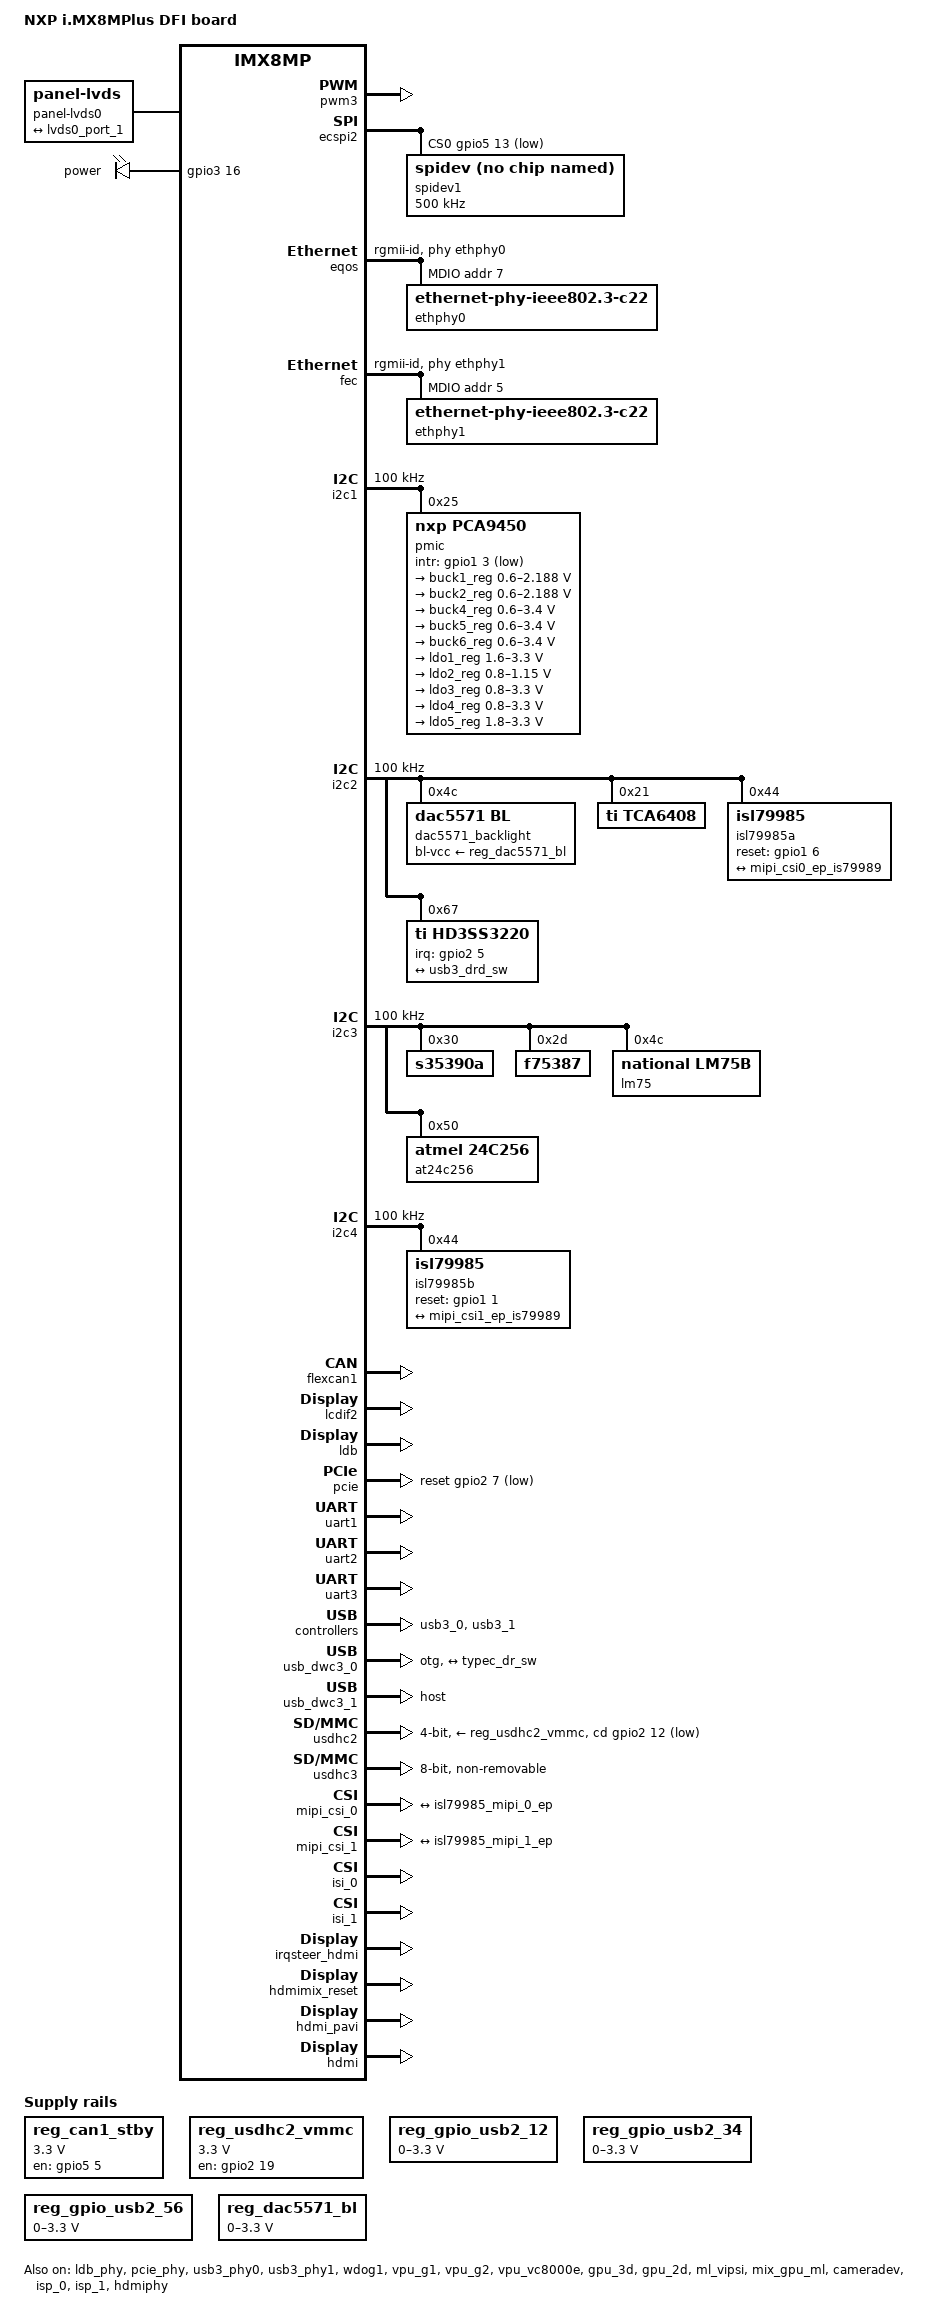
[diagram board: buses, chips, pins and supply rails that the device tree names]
// SPDX-License-Identifier: (GPL-2.0+ OR MIT)
/*
 * Copyright 2019 NXP
 */

/dts-v1/;

#include <dt-bindings/usb/pd.h>
#include "imx8mp.dtsi"

/ {
	model = "NXP i.MX8MPlus DFI board";
	compatible = "fsl,imx8mp-evk", "fsl,imx8mp";

	reserved-memory {
		#address-cells = <2>;
		#size-cells = <2>;
		ranges;

		rpmsg_reserved: rpmsg@0x55800000 {
			no-map;
			reg = <0 0x55800000 0 0x800000>;
		};
	};

	chosen {
		stdout-path = &uart2;
	};

	reg_can1_stby: regulator-can1-stby {
		status = "okay";
		compatible = "regulator-fixed";
		regulator-name = "can1-stby";
		pinctrl-names = "default";
		/* pinctrl-0 = <&pinctrl_flexcan1_reg>; */
		regulator-min-microvolt = <3300000>;
		regulator-max-microvolt = <3300000>;
		gpio = <&gpio5 5 GPIO_ACTIVE_HIGH>;
		enable-active-high;
	};

	reg_usdhc2_vmmc: regulator-usdhc2 {
		compatible = "regulator-fixed";
		regulator-name = "VSD_3V3";
		regulator-min-microvolt = <3300000>;
		regulator-max-microvolt = <3300000>;
		gpio = <&gpio2 19 GPIO_ACTIVE_HIGH>;
		enable-active-high;
		startup-delay-us = <100>;
		off-on-delay-us = <12000>;
	};

    reg_gpio_usb2_12: regulator-usb2-12 {
            compatible = "regulator-gpio";
            pinctrl-names = "default";
            pinctrl-0 = <&pinctrl_usb2_12_en>;
            regulator-min-microvolt = <0000001>;
            regulator-max-microvolt = <3300000>;
            regulator-name = "gpio_usb2_12";
            regulator-type = "voltage";
            gpios = <&gpio1 7 GPIO_ACTIVE_HIGH>;
            gpios-states = <1>;
            states = <3300000 0x1 0000000 0x0>;
    };

    reg_gpio_usb2_34: regulator-usb2-34 {
            compatible = "regulator-gpio";
            pinctrl-names = "default";
            pinctrl-0 = <&pinctrl_usb2_34_en>;
            regulator-min-microvolt = <0000001>;
            regulator-max-microvolt = <3300000>;
            regulator-name = "gpio_usb2_34";
            regulator-type = "voltage";
            gpios = <&gpio1 8 GPIO_ACTIVE_HIGH>;
            gpios-states = <1>;
            states = <3300000 0x1 0000000 0x0>;
    };

    reg_gpio_usb2_56: regulator-usb2-56 {
            compatible = "regulator-gpio";
            pinctrl-names = "default";
            pinctrl-0 = <&pinctrl_usb2_56_en>;
            regulator-min-microvolt = <0000001>;
            regulator-max-microvolt = <3300000>;
            regulator-name = "gpio_usb2_56";
            regulator-type = "voltage";
            gpios = <&gpio1 9 GPIO_ACTIVE_HIGH>;
            gpios-states = <1>;
            states = <3300000 0x1 0000000 0x0>;
    };

    reg_dac5571_bl: regulator-dac5571_bl {
            compatible = "regulator-gpio";
            pinctrl-names = "default";
            pinctrl-0 = <&pinctrl_dac5571_bl_en>;
            regulator-min-microvolt = <0000001>;
            regulator-max-microvolt = <3300000>;
            regulator-name = "dac5571_bl";
            regulator-type = "voltage";
            gpios = <&gpio1 10 GPIO_ACTIVE_HIGH>;
            gpios-states = <1>;
            states = <3300000 0x1 0000001 0x0>;
            enable-at-boot;
            status = "okay";
    };

	panel-lvds0 {
		compatible = "panel-lvds";

		width-mm = <261>;
		height-mm = <163>;
		data-mapping = "jeida-24";

		panel-timing {
			/* 800x600 @60Hz */
			clock-frequency = <40000000>;
			hactive = <800>;
			vactive = <600>;
			hsync-len = <128>;
			hfront-porch = <40>;
			hback-porch = <88>;
			vsync-len = <4>;
			vfront-porch = <1>;
			vback-porch = <23>;
		};

		port {
			panel_lvds0_in: endpoint {
				remote-endpoint = <&lvds0_port_1>;
			};
		};
	};

	leds {
		compatible = "gpio-leds";
		pinctrl-names = "default";
		pinctrl-0 = <&pinctrl_gpio_led>;

		led0: power {
			label = "power";
			gpios = <&gpio3 16 GPIO_ACTIVE_HIGH>;
			default-state = "on";
			linux,default-trigger = "gpio";
		};
	};
};

&clk {
	init-on-array = <IMX8MP_CLK_HSIO_ROOT>;
};

&A53_0 {
	cpu-supply = <&buck2_reg>;
};

&pwm3 {
	pinctrl-names = "default";
	pinctrl-0 = <&pinctrl_pwm3>;
	status = "okay";
};

&ecspi2 {
	#address-cells = <1>;
	#size-cells = <0>;
	fsl,spi-num-chipselects = <1>;
	pinctrl-names = "default";
	pinctrl-0 = <&pinctrl_ecspi2 &pinctrl_ecspi2_cs>;
	cs-gpios = <&gpio5 13 GPIO_ACTIVE_LOW>;
	status = "okay";

	spidev1: spi@0 {
		status = "okay";
		reg = <0>;
		compatible = "rohm,dh2228fv";
		spi-max-frequency = <500000>;
	};
};

&eqos {
	pinctrl-names = "default";
	pinctrl-0 = <&pinctrl_eqos>;
	phy-mode = "rgmii-id";
	phy-handle = <&ethphy0>;
	stmmc-disable-dma-swrst;
	status = "okay";

	mdio {
		compatible = "snps,dwmac-mdio";
		#address-cells = <1>;
		#size-cells = <0>;

		ethphy0: ethernet-phy@1 {
			compatible = "ethernet-phy-ieee802.3-c22";
			reg = <7>;
			eee-broken-1000t;
		};
	};
};

&fec {
	pinctrl-names = "default";
	pinctrl-0 = <&pinctrl_fec>;
	phy-mode = "rgmii-id";
	phy-handle = <&ethphy1>;
	fsl,magic-packet;
	status = "okay";

	mdio {
		#address-cells = <1>;
		#size-cells = <0>;

		ethphy1: ethernet-phy@1 {
			compatible = "ethernet-phy-ieee802.3-c22";
			reg = <5>;
			eee-broken-1000t;
		};
	};
};

&i2c1 {
	clock-frequency = <100000>;
	pinctrl-names = "default";
	pinctrl-0 = <&pinctrl_i2c1>;
	status = "okay";

	pmic: pca9450@25 {
		reg = <0x25>;
		compatible = "nxp,pca9450";
		/* PMIC PCA9450 PMIC_nINT GPIO1_IO3 */
		pinctrl-0 = <&pinctrl_pmic>;
		gpio_intr = <&gpio1 3 GPIO_ACTIVE_LOW>;

		regulators {
			#address-cells = <1>;
			#size-cells = <0>;

			pca9450,pmic-buck2-uses-i2c-dvs;
			/* Run/Standby voltage */
			pca9450,pmic-buck2-dvs-voltage = <950000>, <850000>;

			buck1_reg: regulator@0 {
				reg = <0>;
				regulator-compatible = "buck1";
				regulator-min-microvolt = <600000>;
				regulator-max-microvolt = <2187500>;
				regulator-boot-on;
				regulator-always-on;
				regulator-ramp-delay = <3125>;
			};

			buck2_reg: regulator@1 {
				reg = <1>;
				regulator-compatible = "buck2";
				regulator-min-microvolt = <600000>;
				regulator-max-microvolt = <2187500>;
				regulator-boot-on;
				regulator-always-on;
				regulator-ramp-delay = <3125>;
			};

			buck4_reg: regulator@3 {
				reg = <3>;
				regulator-compatible = "buck4";
				regulator-min-microvolt = <600000>;
				regulator-max-microvolt = <3400000>;
				regulator-boot-on;
				regulator-always-on;
			};

			buck5_reg: regulator@4 {
				reg = <4>;
				regulator-compatible = "buck5";
				regulator-min-microvolt = <600000>;
				regulator-max-microvolt = <3400000>;
				regulator-boot-on;
				regulator-always-on;
			};

			buck6_reg: regulator@5 {
				reg = <5>;
				regulator-compatible = "buck6";
				regulator-min-microvolt = <600000>;
				regulator-max-microvolt = <3400000>;
				regulator-boot-on;
				regulator-always-on;
			};

			ldo1_reg: regulator@6 {
				reg = <6>;
				regulator-compatible = "ldo1";
				regulator-min-microvolt = <1600000>;
				regulator-max-microvolt = <3300000>;
				regulator-boot-on;
				regulator-always-on;
			};

			ldo2_reg: regulator@7 {
				reg = <7>;
				regulator-compatible = "ldo2";
				regulator-min-microvolt = <800000>;
				regulator-max-microvolt = <1150000>;
				regulator-boot-on;
				regulator-always-on;
			};

			ldo3_reg: regulator@8 {
				reg = <8>;
				regulator-compatible = "ldo3";
				regulator-min-microvolt = <800000>;
				regulator-max-microvolt = <3300000>;
				regulator-boot-on;
				regulator-always-on;
			};

			ldo4_reg: regulator@9 {
				reg = <9>;
				regulator-compatible = "ldo4";
				regulator-min-microvolt = <800000>;
				regulator-max-microvolt = <3300000>;
				regulator-boot-on;
				regulator-always-on;
			};

			ldo5_reg: regulator@10 {
				reg = <10>;
				regulator-compatible = "ldo5";
				regulator-min-microvolt = <1800000>;
				regulator-max-microvolt = <3300000>;
			};
		};
	};
};

&i2c2 {
	clock-frequency = <100000>;
	pinctrl-names = "default";
	pinctrl-0 = <&pinctrl_i2c2>;
	status = "okay";

	/* DAC5571 backlight */
	dac5571_backlight: dac5571_backlight@4c {
		compatible = "dac5571,bl";
		reg = <0x4c>;
		pinctrl-names = "default";
		bl-vcc-supply = <&reg_dac5571_bl>;
		default-brightness-level = <80>;
		status = "okay";
	};

    tca6408: gpio@21 {
		compatible = "ti,tca6408";
		reg = <0x21>;
		gpio-controller;
		#gpio-cells = <2>;
    };

	/* ISL79985 A */
	isl79985a: isl79985_mipi@44 {
		compatible = "isl79985";
		reg = <0x44>;

		pinctrl-names = "default";
		pinctrl-0 = <&pinctrl_isl79985a_rst>;
		csi_id = <0>;
		reset-gpios = <&gpio1 6 GPIO_ACTIVE_HIGH>;
		status = "okay";

		port@0 {
			isl79985_mipi_0_ep: endpoint {
				remote-endpoint = <&mipi_csi0_ep_is79989>;
				data-lanes = <1>;
				clock-lanes = <1>;
			};
		};

	};

	hd3ss3220: tcpc@67 {
		compatible = "ti,hd3ss3220";
		reg = <0x67>;
		pinctrl-names = "default";
		pinctrl-0 = <&pinctrl_int_3320>;
		interrupt-parent = <&gpio2>;
		interrupts = <5 8>;

		usb_con: connector {
			compatible = "usb-c-connector";
			label = "USB-C";
			power-role = "dual";
			data-role = "dual";
			try-power-role = "sink";

			port {
				typec_dr_sw: endpoint {
					remote-endpoint = <&usb3_drd_sw>;
				};
			};
		};
	};
};

&i2c3 {
	clock-frequency = <100000>;
	pinctrl-names = "default";
	pinctrl-0 = <&pinctrl_i2c3>;
	status = "okay";

    s35390a: s35390a@30 {
		compatible = "s35390a";
		reg = <0x30>;
    };

    f75387: f75387@2d {
		force-pwm-mode-3;
		compatible = "f75387";
		reg = <0x2d>;
    };

	lm75: board-temp-sensor@4c {
		compatible = "national,lm75b";
		reg = <0x4c>;
	};

	at24c256: eeprom@50 {
		compatible = "atmel,24c256";
		reg = <0x50>;
	};
};

&i2c4 {
	clock-frequency = <100000>;
	pinctrl-names = "default";
	pinctrl-0 = <&pinctrl_i2c4>;
	status = "okay";


	/* ISL79985 B */
	isl79985b: isl79985_mipi@44 {
		compatible = "isl79985";
		reg = <0x44>;

		pinctrl-names = "default";
		pinctrl-0 = <&pinctrl_isl79985b_rst>;
		csi_id = <0>;
		reset-gpios = <&gpio1 1 GPIO_ACTIVE_HIGH>;
		status = "okay";

		port@0 {
			isl79985_mipi_1_ep: endpoint {
				remote-endpoint = <&mipi_csi1_ep_is79989>;
				data-lanes = <1>;
				clock-lanes = <1>;
			};
		};

	};
};

&flexcan1 {
	pinctrl-names = "default";
	pinctrl-0 = <&pinctrl_flexcan1>;
	/* xceiver-supply = <&reg_can1_stby>; */
	status = "okay";
};

&lcdif1 {
	status = "disabled";
};

&lcdif2 {
	status = "okay";
};

&lcdif3 {
	status = "disabled";
};

&ldb {
	status = "okay";

	lvds-channel@0 {
		fsl,data-mapping = "jeida";
		fsl,data-width = <24>;
		status = "okay";

		port@1 {
			reg = <1>;
			lvds0_port_1: endpoint {
					remote-endpoint = <&panel_lvds0_in>;
			};
		};
	};
};

&ldb_phy {
	status = "okay";
};

&pcie{
	pinctrl-names = "default";
	pinctrl-0 = <&pinctrl_pcie>;
	disable-gpio = <&gpio2 6 GPIO_ACTIVE_LOW>;
	reset-gpio = <&gpio2 7 GPIO_ACTIVE_LOW>;
	clkreq-gpio = <&gpio5 20 GPIO_ACTIVE_LOW>;
	ext_osc = <1>;
	clocks = <&clk IMX8MP_CLK_HSIO_AXI_DIV>,
		 <&clk IMX8MP_CLK_PCIE_AUX>,
		 <&clk IMX8MP_CLK_PCIE_PHY>,
		 <&clk IMX8MP_CLK_PCIE_ROOT>;
	clock-names = "pcie", "pcie_aux", "pcie_phy", "pcie_bus";
	assigned-clocks = <&clk IMX8MP_CLK_HSIO_AXI_SRC>,
			  <&clk IMX8MP_CLK_PCIE_AUX>;
	assigned-clock-parents = <&clk IMX8MP_SYS_PLL2_500M>,
				 <&clk IMX8MP_SYS_PLL2_50M>;
	reserved-region = <&rpmsg_reserved>;
	status = "okay";
};

&pcie_phy{
	status = "okay";
};



&uart1 {
	pinctrl-names = "default";
	pinctrl-0 = <&pinctrl_uart1>;
	assigned-clocks = <&clk IMX8MP_CLK_UART1>;
	assigned-clock-parents = <&clk IMX8MP_SYS_PLL1_80M>;
	status = "okay";
};

&uart2 {
	/* console */
	pinctrl-names = "default";
	pinctrl-0 = <&pinctrl_uart2>;
	status = "okay";
};

&uart3 {
	pinctrl-names = "default";
	pinctrl-0 = <&pinctrl_uart3>;
	assigned-clocks = <&clk IMX8MP_CLK_UART3>;
	assigned-clock-parents = <&clk IMX8MP_SYS_PLL1_80M>;
	fsl,uart-has-rtscts;
	status = "okay";
};

&usb3_phy0 {
	fsl,phy-tx-vref-tune = <6>;
	fsl,phy-tx-rise-tune = <0>;
	fsl,phy-tx-preemp-amp-tune = <3>;
	fsl,phy-comp-dis-tune = <7>;
	fsl,pcs-tx-deemph-3p5db = <0x21>;
	fsl,phy-pcs-tx-swing-full = <0x7f>;
	status = "okay";
};

&usb3_0 {
	status = "okay";
};

&usb_dwc3_0 {
	dr_mode = "otg";
	hnp-disable;
	srp-disable;
	adp-disable;
	usb-role-switch;
	status = "okay";

	port {
		usb3_drd_sw: endpoint {
			remote-endpoint = <&typec_dr_sw>;
		};
	};

};

&usb3_phy1 {
	fsl,phy-tx-preemp-amp-tune = <2>;
	status = "okay";
};

&usb3_1 {
	status = "okay";
};

&usb_dwc3_1 {
	dr_mode = "host";
	status = "okay";
};

&usdhc2 {
	pinctrl-names = "default", "state_100mhz", "state_200mhz";
	pinctrl-0 = <&pinctrl_usdhc2>, <&pinctrl_usdhc2_gpio>;
	pinctrl-1 = <&pinctrl_usdhc2_100mhz>, <&pinctrl_usdhc2_gpio>;
	pinctrl-2 = <&pinctrl_usdhc2_200mhz>, <&pinctrl_usdhc2_gpio>;
	cd-gpios = <&gpio2 12 GPIO_ACTIVE_LOW>;
	vmmc-supply = <&reg_usdhc2_vmmc>;
	bus-width = <4>;
	status = "okay";
};

/* eMMC */
&usdhc3 {
	pinctrl-names = "default", "state_100mhz", "state_200mhz";
	pinctrl-0 = <&pinctrl_usdhc3>;
	pinctrl-1 = <&pinctrl_usdhc3_100mhz>;
	pinctrl-2 = <&pinctrl_usdhc3_200mhz>;
	bus-width = <8>;
	non-removable;
	status = "okay";
};

&wdog1 {
	pinctrl-names = "default";
	pinctrl-0 = <&pinctrl_wdog>;
	fsl,ext-reset-output;
	status = "okay";
};

&iomuxc {
	pinctrl-names = "default";
	pinctrl-0 = <&pinctrl_hog>;

	pinctrl_hog: hoggrp {
		fsl,pins = <
			MX8MP_IOMUXC_GPIO1_IO00__GPIO1_IO00		0x59	/* USB_OTG_PWR_EN 	*/
			MX8MP_IOMUXC_GPIO1_IO05__GPIO1_IO05		0x19 	/* CAM1 RST 		*/
			MX8MP_IOMUXC_GPIO1_IO11__GPIO1_IO11		0x116 	/* PCIE_nPRSNT_3V3 	*/
			MX8MP_IOMUXC_GPIO1_IO12__GPIO1_IO12		0x19 	/* TCA_INT-		*/
			MX8MP_IOMUXC_GPIO1_IO13__GPIO1_IO13		0x19 	/* USB_OC12- 		*/
			MX8MP_IOMUXC_GPIO1_IO14__GPIO1_IO14		0x19 	/* USB_OC34- 		*/
			MX8MP_IOMUXC_GPIO1_IO15__GPIO1_IO15		0x19 	/* USB_OC5-		*/
			MX8MP_IOMUXC_SD1_DATA0__GPIO2_IO02		0x1d0 	/* HUB_nRST 		*/
			MX8MP_IOMUXC_SD1_DATA2__GPIO2_IO04		0x1d0 	/* LCD_DPS			*/
			MX8MP_IOMUXC_SD1_STROBE__GPIO2_IO11		0x19 /* CSI_PWDN */



		>;
	};

	pinctrl_dac5571_en: dac5571_en {
		fsl,pins = <
			MX8MP_IOMUXC_GPIO1_IO10__GPIO1_IO10 0x16 /* LVDS_BL_EN */
		>;
	};

	pinctrl_usb2_12_en: usb2_12_en {
		fsl,pins = <
			MX8MP_IOMUXC_GPIO1_IO07__GPIO1_IO07	0x16 /* USB2_12 Enable */
		>;
	};

	pinctrl_usb2_34_en: usb2_34_en {
		fsl,pins = <
			MX8MP_IOMUXC_GPIO1_IO08__GPIO1_IO08	0x16 /* USB2_32 Enable */
		>;
	};

	pinctrl_usb2_56_en: usb2_56_en {
		fsl,pins = <
			MX8MP_IOMUXC_GPIO1_IO09__GPIO1_IO09	0x16 /* USB2_32 Enable */
		>;
	};

	pinctrl_dac5571_bl_en: dac5571_bl_en {
		fsl,pins = <
			MX8MP_IOMUXC_GPIO1_IO10__GPIO1_IO10	0x16 /* DAC5571_BL Enable */
		>;
	};

	pinctrl_lvds_pwr_en: lvds_pwr_en {
		fsl,pins = <
			MX8MP_IOMUXC_SAI5_RXD2__GPIO3_IO23	0x16 /* LVDS Power Enable */
		>;
	};

	pinctrl_isl79985a_rst: isl79985a_rst {
		fsl,pins = <
			MX8MP_IOMUXC_GPIO1_IO06__GPIO1_IO06	0x19 /* ISL79985 1st RST */
		>;
	};

	pinctrl_isl79985b_rst: isl79985b_rst {
		fsl,pins = <
			MX8MP_IOMUXC_GPIO1_IO01__GPIO1_IO01	0x19 /* ISL79985 2nd RST */
		>;
	};

	pinctrl_int_3320: int_3320 {
		fsl,pins = <
			MX8MP_IOMUXC_SD1_DATA3__GPIO2_IO05	0x19 /* INT_3320 */
		>;
	};

	pinctrl_pwm3: pwm3grp {
		fsl,pins = <
			MX8MP_IOMUXC_SAI5_RXC__PWM3_OUT	0x116
		>;
	};

	pinctrl_ecspi2: ecspi2grp {
		fsl,pins = <
			MX8MP_IOMUXC_ECSPI2_SCLK__ECSPI2_SCLK		0x82
			MX8MP_IOMUXC_ECSPI2_MOSI__ECSPI2_MOSI		0x82
			MX8MP_IOMUXC_ECSPI2_MISO__ECSPI2_MISO		0x82
		>;
	};

	pinctrl_ecspi2_cs: ecspi2cs {
		fsl,pins = <
			MX8MP_IOMUXC_ECSPI2_SS0__GPIO5_IO13		0x40000
		>;
	};

	pinctrl_eqos: eqosgrp {
		fsl,pins = <
			MX8MP_IOMUXC_ENET_MDC__ENET_QOS_MDC	0x3
			MX8MP_IOMUXC_ENET_MDIO__ENET_QOS_MDIO	0x3
			MX8MP_IOMUXC_ENET_RD0__ENET_QOS_RGMII_RD0	0x91
			MX8MP_IOMUXC_ENET_RD1__ENET_QOS_RGMII_RD1	0x91
			MX8MP_IOMUXC_ENET_RD2__ENET_QOS_RGMII_RD2	0x91
			MX8MP_IOMUXC_ENET_RD3__ENET_QOS_RGMII_RD3	0x91
			MX8MP_IOMUXC_ENET_RXC__CCM_ENET_QOS_CLOCK_GENERATE_RX_CLK	0x91
			MX8MP_IOMUXC_ENET_RX_CTL__ENET_QOS_RGMII_RX_CTL	0x91
			MX8MP_IOMUXC_ENET_TD0__ENET_QOS_RGMII_TD0		0x1f
			MX8MP_IOMUXC_ENET_TD1__ENET_QOS_RGMII_TD1		0x1f
			MX8MP_IOMUXC_ENET_TD2__ENET_QOS_RGMII_TD2		0x1f
			MX8MP_IOMUXC_ENET_TD3__ENET_QOS_RGMII_TD3		0x1f
			MX8MP_IOMUXC_ENET_TX_CTL__ENET_QOS_RGMII_TX_CTL	0x1f
			MX8MP_IOMUXC_ENET_TXC__CCM_ENET_QOS_CLOCK_GENERATE_TX_CLK	0x1f
			MX8MP_IOMUXC_SAI2_RXC__GPIO4_IO22		0x19
		>;
	};

	pinctrl_fec: fecgrp {
		fsl,pins = <
			MX8MP_IOMUXC_SAI1_RXD2__ENET1_MDC		0x3
			MX8MP_IOMUXC_SAI1_RXD3__ENET1_MDIO		0x3
			MX8MP_IOMUXC_SAI1_RXD4__ENET1_RGMII_RD0		0x91
			MX8MP_IOMUXC_SAI1_RXD5__ENET1_RGMII_RD1		0x91
			MX8MP_IOMUXC_SAI1_RXD6__ENET1_RGMII_RD2		0x91
			MX8MP_IOMUXC_SAI1_RXD7__ENET1_RGMII_RD3		0x91
			MX8MP_IOMUXC_SAI1_TXC__ENET1_RGMII_RXC		0x91
			MX8MP_IOMUXC_SAI1_TXFS__ENET1_RGMII_RX_CTL	0x91
			MX8MP_IOMUXC_SAI1_TXD0__ENET1_RGMII_TD0		0x1f
			MX8MP_IOMUXC_SAI1_TXD1__ENET1_RGMII_TD1		0x1f
			MX8MP_IOMUXC_SAI1_TXD2__ENET1_RGMII_TD2		0x1f
			MX8MP_IOMUXC_SAI1_TXD3__ENET1_RGMII_TD3		0x1f
			MX8MP_IOMUXC_SAI1_TXD4__ENET1_RGMII_TX_CTL	0x1f
			MX8MP_IOMUXC_SAI1_TXD5__ENET1_RGMII_TXC		0x1f
			MX8MP_IOMUXC_SAI1_RXD0__GPIO4_IO02		0x19
		>;
	};

	pinctrl_flexcan1: flexcan1grp {
		fsl,pins = <
			MX8MP_IOMUXC_SPDIF_RX__CAN1_RX          0x154
			MX8MP_IOMUXC_SPDIF_TX__CAN1_TX          0x154
		>;
	};

	pinctrl_gpio_led: gpioledgrp {
		fsl,pins = <
			MX8MP_IOMUXC_NAND_READY_B__GPIO3_IO16	0x19
		>;
	};

	pinctrl_i2c1: i2c1grp {
		fsl,pins = <
			MX8MP_IOMUXC_I2C1_SCL__I2C1_SCL		0x400001c3
			MX8MP_IOMUXC_I2C1_SDA__I2C1_SDA		0x400001c3
		>;
	};

	pinctrl_i2c2: i2c2grp {
		fsl,pins = <
			MX8MP_IOMUXC_I2C2_SCL__I2C2_SCL			0x400001c3
			MX8MP_IOMUXC_I2C2_SDA__I2C2_SDA			0x400001c3
		>;
	};

	pinctrl_i2c3: i2c3grp {
		fsl,pins = <
			MX8MP_IOMUXC_I2C3_SCL__I2C3_SCL			0x400001c3
			MX8MP_IOMUXC_I2C3_SDA__I2C3_SDA			0x400001c3
		>;
	};

	pinctrl_i2c4: i2c4grp {
		fsl,pins = <
			MX8MP_IOMUXC_I2C4_SCL__I2C4_SCL			0x400001c3
			MX8MP_IOMUXC_I2C4_SDA__I2C4_SDA			0x400001c3
		>;
	};

	pinctrl_pcie: pciegrp {
		fsl,pins = <
			MX8MP_IOMUXC_I2C4_SCL__HSIOMIX_PCIE_CLKREQ_B	0x61 /* open drain, pull up */
			MX8MP_IOMUXC_SD1_DATA4__GPIO2_IO06		0x41
			MX8MP_IOMUXC_SD1_DATA5__GPIO2_IO07		0x41
		>;
	};

	pinctrl_pmic: pmicirq {
		fsl,pins = <
			MX8MP_IOMUXC_GPIO1_IO03__GPIO1_IO03	0x41
		>;
	};

	pinctrl_uart1: uart1grp {
		fsl,pins = <
			MX8MP_IOMUXC_UART1_RXD__UART1_DCE_RX	0x140
			MX8MP_IOMUXC_UART1_TXD__UART1_DCE_TX	0x140
			MX8MP_IOMUXC_UART3_RXD__UART1_DCE_CTS	0x140
			MX8MP_IOMUXC_UART3_TXD__UART1_DCE_RTS	0x140
		>;
	};

	pinctrl_uart2: uart2grp {
		fsl,pins = <
			MX8MP_IOMUXC_UART2_RXD__UART2_DCE_RX	0x49
			MX8MP_IOMUXC_UART2_TXD__UART2_DCE_TX	0x49
		>;
	};

	pinctrl_uart3: uart3grp {
		fsl,pins = <
			MX8MP_IOMUXC_ECSPI1_SCLK__UART3_DCE_RX		0x140
			MX8MP_IOMUXC_ECSPI1_MOSI__UART3_DCE_TX		0x140
			MX8MP_IOMUXC_ECSPI1_SS0__UART3_DCE_RTS		0x140
			MX8MP_IOMUXC_ECSPI1_MISO__UART3_DCE_CTS		0x140
		>;
	};

	pinctrl_usdhc2_gpio: usdhc2grp-gpio {
		fsl,pins = <
			MX8MP_IOMUXC_SD2_CD_B__GPIO2_IO12 	0x1c4
			MX8MP_IOMUXC_SD2_RESET_B__GPIO2_IO19	0x41
		>;
	};

	pinctrl_usdhc2: usdhc2grp {
		fsl,pins = <
			MX8MP_IOMUXC_SD2_CLK__USDHC2_CLK	0x190
			MX8MP_IOMUXC_SD2_CMD__USDHC2_CMD	0x1d0
			MX8MP_IOMUXC_SD2_DATA0__USDHC2_DATA0	0x1d0
			MX8MP_IOMUXC_SD2_DATA1__USDHC2_DATA1	0x1d0
			MX8MP_IOMUXC_SD2_DATA2__USDHC2_DATA2	0x1d0
			MX8MP_IOMUXC_SD2_DATA3__USDHC2_DATA3	0x1d0
			MX8MP_IOMUXC_GPIO1_IO04__USDHC2_VSELECT	0xc1
		>;
	};

	pinctrl_usdhc2_100mhz: usdhc2grp-100mhz {
		fsl,pins = <
			MX8MP_IOMUXC_SD2_CLK__USDHC2_CLK	0x194
			MX8MP_IOMUXC_SD2_CMD__USDHC2_CMD	0x1d4
			MX8MP_IOMUXC_SD2_DATA0__USDHC2_DATA0	0x1d4
			MX8MP_IOMUXC_SD2_DATA1__USDHC2_DATA1	0x1d4
			MX8MP_IOMUXC_SD2_DATA2__USDHC2_DATA2	0x1d4
			MX8MP_IOMUXC_SD2_DATA3__USDHC2_DATA3	0x1d4
			MX8MP_IOMUXC_GPIO1_IO04__USDHC2_VSELECT 0xc1
		>;
	};

	pinctrl_usdhc2_200mhz: usdhc2grp-200mhz {
		fsl,pins = <
			MX8MP_IOMUXC_SD2_CLK__USDHC2_CLK	0x196
			MX8MP_IOMUXC_SD2_CMD__USDHC2_CMD	0x1d6
			MX8MP_IOMUXC_SD2_DATA0__USDHC2_DATA0	0x1d6
			MX8MP_IOMUXC_SD2_DATA1__USDHC2_DATA1	0x1d6
			MX8MP_IOMUXC_SD2_DATA2__USDHC2_DATA2	0x1d6
			MX8MP_IOMUXC_SD2_DATA3__USDHC2_DATA3	0x1d6
			MX8MP_IOMUXC_GPIO1_IO04__USDHC2_VSELECT 0xc1
		>;
	};

	pinctrl_usdhc3: usdhc3grp {
		fsl,pins = <
			MX8MP_IOMUXC_NAND_WE_B__USDHC3_CLK	0x190
			MX8MP_IOMUXC_NAND_WP_B__USDHC3_CMD	0x1d0
			MX8MP_IOMUXC_NAND_DATA04__USDHC3_DATA0	0x1d0
			MX8MP_IOMUXC_NAND_DATA05__USDHC3_DATA1	0x1d0
			MX8MP_IOMUXC_NAND_DATA06__USDHC3_DATA2	0x1d0
			MX8MP_IOMUXC_NAND_DATA07__USDHC3_DATA3	0x1d0
			MX8MP_IOMUXC_NAND_RE_B__USDHC3_DATA4	0x1d0
			MX8MP_IOMUXC_NAND_CE2_B__USDHC3_DATA5	0x1d0
			MX8MP_IOMUXC_NAND_CE3_B__USDHC3_DATA6	0x1d0
			MX8MP_IOMUXC_NAND_CLE__USDHC3_DATA7	0x1d0
			MX8MP_IOMUXC_NAND_CE1_B__USDHC3_STROBE	0x190
		>;
	};

	pinctrl_usdhc3_100mhz: usdhc3grp-100mhz {
		fsl,pins = <
			MX8MP_IOMUXC_NAND_WE_B__USDHC3_CLK	0x194
			MX8MP_IOMUXC_NAND_WP_B__USDHC3_CMD	0x1d4
			MX8MP_IOMUXC_NAND_DATA04__USDHC3_DATA0	0x1d4
			MX8MP_IOMUXC_NAND_DATA05__USDHC3_DATA1	0x1d4
			MX8MP_IOMUXC_NAND_DATA06__USDHC3_DATA2	0x1d4
			MX8MP_IOMUXC_NAND_DATA07__USDHC3_DATA3	0x1d4
			MX8MP_IOMUXC_NAND_RE_B__USDHC3_DATA4	0x1d4
			MX8MP_IOMUXC_NAND_CE2_B__USDHC3_DATA5	0x1d4
			MX8MP_IOMUXC_NAND_CE3_B__USDHC3_DATA6	0x1d4
			MX8MP_IOMUXC_NAND_CLE__USDHC3_DATA7	0x1d4
			MX8MP_IOMUXC_NAND_CE1_B__USDHC3_STROBE	0x194
		>;
	};

	pinctrl_usdhc3_200mhz: usdhc3grp-200mhz {
		fsl,pins = <
			MX8MP_IOMUXC_NAND_WE_B__USDHC3_CLK	0x196
			MX8MP_IOMUXC_NAND_WP_B__USDHC3_CMD	0x1d6
			MX8MP_IOMUXC_NAND_DATA04__USDHC3_DATA0	0x1d6
			MX8MP_IOMUXC_NAND_DATA05__USDHC3_DATA1	0x1d6
			MX8MP_IOMUXC_NAND_DATA06__USDHC3_DATA2	0x1d6
			MX8MP_IOMUXC_NAND_DATA07__USDHC3_DATA3	0x1d6
			MX8MP_IOMUXC_NAND_RE_B__USDHC3_DATA4	0x1d6
			MX8MP_IOMUXC_NAND_CE2_B__USDHC3_DATA5	0x1d6
			MX8MP_IOMUXC_NAND_CE3_B__USDHC3_DATA6	0x1d6
			MX8MP_IOMUXC_NAND_CLE__USDHC3_DATA7	0x1d6
			MX8MP_IOMUXC_NAND_CE1_B__USDHC3_STROBE	0x196
		>;
	};

	pinctrl_wdog: wdoggrp {
		fsl,pins = <
			MX8MP_IOMUXC_GPIO1_IO02__WDOG1_WDOG_B	0xc6
		>;
	};
};

&vpu_g1 {
	status = "okay";
};

&vpu_g2 {
	status = "okay";
};

&vpu_vc8000e {
	status = "okay";
};

&gpu_3d {
	status = "okay";
};

&gpu_2d {
	status = "okay";
};

&ml_vipsi {
	status = "okay";
};

&mix_gpu_ml {
	status = "okay";
};

&mipi_csi_0 {
	#address-cells = <1>;
	#size-cells = <0>;
	status = "okay";

	port@0 {
		reg = <0>;
		mipi_csi0_ep_is79989: endpoint {
			remote-endpoint = <&isl79985_mipi_0_ep>;
			data-lanes = <1>;
			csis-hs-settle = <13>;
			csis-clk-settle = <2>;
			csis-wclk;
		};
	};
};

&mipi_csi_1 {
	#address-cells = <1>;
	#size-cells = <0>;
	status = "okay";

	port@1 {
		reg = <1>;
		mipi_csi1_ep_is79989: endpoint {
			remote-endpoint = <&isl79985_mipi_1_ep>;
			data-lanes = <1>;
			csis-hs-settle = <13>;
			csis-clk-settle = <2>;
			csis-wclk;
		};
	};
};

&cameradev {
	status = "okay";
};

&isp_0 {
	status = "okay";
};

&isp_1 {
	status = "okay";
};

&isi_0 {
	status = "okay";

	cap_device {
		status = "okay";
	};

	m2m_device {
		status = "okay";
	};
};

&isi_1 {
	status = "okay";

	cap_device {
		status = "okay";
	};
};

&irqsteer_hdmi {
	status = "okay";
};

&hdmimix_clk {
	status = "okay";
};

&hdmimix_reset {
	status = "okay";
};

&hdmi_pavi {
	status = "okay";
};

&hdmi {
	status = "okay";
};

&hdmiphy {
	status = "okay";
};
